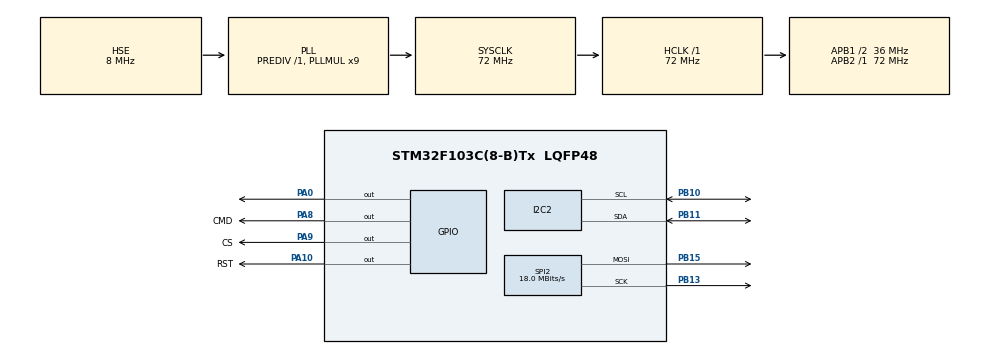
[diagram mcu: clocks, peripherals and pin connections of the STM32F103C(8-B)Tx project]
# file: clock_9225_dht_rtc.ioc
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Mcu.Family=STM32F1
Mcu.Name=STM32F103C(8-B)Tx
Mcu.Package=LQFP48
NVIC.PriorityGroup=NVIC_PRIORITYGROUP_4
PA0-WKUP.Signal=GPIO_Output
PA10.GPIO_Label=RST
PA10.Signal=GPIO_Output
PA13.Mode=Serial_Wire
PA13.Signal=SYS_JTMS-SWDIO
PA14.Mode=Serial_Wire
PA14.Signal=SYS_JTCK-SWCLK
PA8.GPIO_Label=CMD
PA8.Signal=GPIO_Output
PA9.GPIO_Label=CS
PA9.Signal=GPIO_Output
PB10.Mode=I2C
PB10.Signal=I2C2_SCL
PB11.Mode=I2C
PB11.Signal=I2C2_SDA
PB13.Mode=TX_Only_Simplex_Unidirect_Master
PB13.Signal=SPI2_SCK
PB15.Mode=TX_Only_Simplex_Unidirect_Master
PB15.Signal=SPI2_MOSI
PD0-OSC_IN.Mode=HSE-External-Oscillator
PD0-OSC_IN.Signal=RCC_OSC_IN
PD1-OSC_OUT.Mode=HSE-External-Oscillator
PD1-OSC_OUT.Signal=RCC_OSC_OUT
ProjectManager.HeapSize=0x200
ProjectManager.StackSize=0x400
ProjectManager.TargetToolchain=STM32CubeIDE
RCC.AHBFreq_Value=72000000
RCC.APB1CLKDivider=RCC_HCLK_DIV2
RCC.APB1Freq_Value=36000000
RCC.APB1TimFreq_Value=72000000
RCC.APB2Freq_Value=72000000
RCC.APB2TimFreq_Value=72000000
RCC.HCLKFreq_Value=72000000
RCC.PLLMUL=RCC_PLL_MUL9
RCC.PLLSourceVirtual=RCC_PLLSOURCE_HSE
RCC.SYSCLKFreq_VALUE=72000000
RCC.SYSCLKSource=RCC_SYSCLKSOURCE_PLLCLK
RCC.USBFreq_Value=72000000
SPI2.CalculateBaudRate=18.0 MBits/s
SPI2.Direction=SPI_DIRECTION_2LINES
SPI2.Mode=SPI_MODE_MASTER
SPI2.VirtualType=VM_MASTER
board=custom

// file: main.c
/* USER CODE BEGIN Header */
/**
  ******************************************************************************
  * @file           : main.c
  * @brief          : Main program body
  ******************************************************************************
  * @attention
  *
  * Copyright (c) 2023 STMicroelectronics.
  * All rights reserved.
  *
  * This software is licensed under terms that can be found in the LICENSE file
  * in the root directory of this software component.
  * If no LICENSE file comes with this software, it is provided AS-IS.
  *
  ******************************************************************************
  */
/* USER CODE END Header */
#include "main.h"

/* USER CODE BEGIN Includes */
#include "ILI9225.h"
#include "DHT.h"
#include "stdio.h"
#include "stdint.h"
#include <string.h>
#include "RTC.h"
/* USER CODE END Includes */

I2C_HandleTypeDef hi2c2;

SPI_HandleTypeDef hspi2;

DHT_DataTypedef DHT11_Data;
float Temperature, Humidity;
long last = 0;
int i = 0;
char temperature_string[100];
char humidity_string[100];

/* USER CODE BEGIN PV */
uint8_t second_present, min_present, hour_present, date_present, month_present, year_present;
uint8_t second_temp, min_temp, hour_temp, date_temp, month_temp, year_temp;

uint8_t str1[10];

uint8_t str2[10];
/* USER CODE END PV */

void SystemClock_Config(void);
static void MX_GPIO_Init(void);
static void MX_SPI2_Init(void);
static void MX_I2C2_Init(void);
void Read_DataDHT(void);

DateTime datetime;
int main(void)
{

  /* MCU Configuration--------------------------------------------------------*/

  /* Reset of all peripherals, Initializes the Flash interface and the Systick. */
  HAL_Init();

  /* Configure the system clock */
  SystemClock_Config();

  /* Initialize all configured peripherals */
  MX_GPIO_Init();
  MX_SPI2_Init();
  MX_I2C2_Init();
  /* USER CODE BEGIN 2 */
  lcd_init();
  draw_string(0, 50, COLOR_SILVER, 5, "HELLO");
  HAL_Delay(2500);
  fill_rectangle(0, 0, WIDTH, HEIGHT, COLOR_WHITE);
  Read_DataDHT();

  datetime.second = 0;
  datetime.min = 32;
  datetime.hour = 17;
  datetime.day = 8;
  datetime.date = 53;
  datetime.month = 12;
  datetime.year = 23;
  RTC_WriteTime(&datetime);

  draw_string(15, 50, COLOR_GOLD, 5, "QMDP");
  HAL_Delay(2500);
  /* USER CODE END 2 */

  /* Infinite loop */
  while (1)
  {

    /* USER CODE BEGIN 3 */

		 RTC_ReadTime(&datetime);
		  second_temp = datetime.second;
		  min_temp = datetime.min;
		  hour_temp = datetime.hour;
		  date_temp = datetime.date;
		  month_temp = datetime.month;
		  year_temp = datetime.year;
		  sprintf(str1,"Time %.2d:%.2d:%.2d",datetime.hour,datetime.min,datetime.second );

		  if(second_temp != second_present)
		  {
			  fill_rectangle(140, 100, 160, 110, COLOR_WHITE);
			  second_present = second_temp;
		  }
		  draw_string(40, 100, COLOR_BLACK, 1, str1);

		  if(min_temp != min_present)
		  	  {
		  		  fill_rectangle(110, 100, 130, 110, COLOR_WHITE);
		  		  min_present = min_temp;
		  	  }
		  draw_string(40, 100, COLOR_BLACK, 1, str1);

		  if(hour_temp != hour_present)
		 	  	  {
		 	  		  fill_rectangle(85, 100, 105, 110, COLOR_WHITE);
		 	  		  hour_present = hour_temp;
		 	  	  }
		  draw_string(40, 100, COLOR_BLACK, 1, str1);

		  sprintf(str2,"Date %.2d/%.2d/%.2d",datetime.date,datetime.month,datetime.year );
	// để sprintf ở đây cho nó chính xác, date, month, year lâu lắm
		  //để sprintf ở đây để convert, lệnh in lên LCD nằm trong thư viện của LCD
		  if(date_temp != date_present)
		  	 	  	  {
		  	 	  		  fill_rectangle(85, 115, 105, 135, COLOR_WHITE);
		  	 	  		  date_present = date_temp;
		  	 	  	  }
		  	  draw_string(40, 120, COLOR_BLACK, 1, str2);

		  	if(month_temp != month_present)
		  		 	  	  {
		  		 	  		  fill_rectangle(110, 115, 130, 135, COLOR_WHITE);
		  		 	  		  month_present = month_temp;
		  		 	  	  }
		  		  draw_string(40, 120, COLOR_BLACK, 1, str2);

		  		if(year_temp != year_present)
		  			 	  	  {
		  			 	  		  fill_rectangle(135, 115, 160, 135, COLOR_WHITE);
		  			 	  		  year_present = year_temp;
		  			 	  	  }
		  			  draw_string(40, 120, COLOR_BLACK, 1, str2);

          Read_DataDHT();
	      snprintf(temperature_string, 7, "%.2f", Temperature);
	      snprintf(humidity_string, 7, "%.2f", Humidity);
	      fill_rectangle(0, 0, 220, 176, COLOR_WHITE);
	      draw_string(20, 20, COLOR_BLUE, 4, temperature_string);
		  draw_string(20, 90, COLOR_BLUE, 4, humidity_string);
		  HAL_Delay(100);
  }
  /* USER CODE END 3 */
}

void Read_DataDHT(void)
{
	DHT_GetData(&DHT11_Data);
	Temperature = DHT11_Data.Temperature;
	Humidity = DHT11_Data.Humidity;
//	char number_string[10];

//	dtostrf(Temperature, 5, 2, str);
//	dtostrf(Humidity, 5, 2, str);
//	dtostrf(Temperature, str, 5, 2);
//    dtostrf(Humidity, str, 5, 2);
//    itoa(Temperature, str, 5);
//    snprintf(temperature_string, 7, "%.2f", Temperature);
//    snprintf(humidity_string, 7, "%.2f", Humidity);
    //	str, "%d.Temperature: %0.2f - Humidity: %0.2f\r\n", Temperature,Humidity;

//	last = HAL_GetTick();
//	while(1)
//	{
//		if(HAL_GetTick() - last >= 1000)
//		{
////			uint8_t count = 0;
////			i++;
////	 		count = sprintf((char *)str,"%d.Temperature: %0.2f - Humidity: %0.2f\r\n",i, Temperature,Humidity);
////			HAL_UART_Transmit(&huart2,str, count, 300);
//			last = HAL_GetTick();
//			break;
//		}
//	}
}

void SystemClock_Config(void)
{
  RCC_OscInitTypeDef RCC_OscInitStruct = {0};
  RCC_ClkInitTypeDef RCC_ClkInitStruct = {0};

  /** Initializes the RCC Oscillators according to the specified parameters
  * in the RCC_OscInitTypeDef structure.
  */
  RCC_OscInitStruct.OscillatorType = RCC_OSCILLATORTYPE_HSE;
  RCC_OscInitStruct.HSEState = RCC_HSE_ON;
  RCC_OscInitStruct.HSEPredivValue = RCC_HSE_PREDIV_DIV1;
  RCC_OscInitStruct.HSIState = RCC_HSI_ON;
  RCC_OscInitStruct.PLL.PLLState = RCC_PLL_ON;
  RCC_OscInitStruct.PLL.PLLSource = RCC_PLLSOURCE_HSE;
  RCC_OscInitStruct.PLL.PLLMUL = RCC_PLL_MUL9;
  if (HAL_RCC_OscConfig(&RCC_OscInitStruct) != HAL_OK)
  {
    Error_Handler();
  }

  /** Initializes the CPU, AHB and APB buses clocks
  */
  RCC_ClkInitStruct.ClockType = RCC_CLOCKTYPE_HCLK|RCC_CLOCKTYPE_SYSCLK
                              |RCC_CLOCKTYPE_PCLK1|RCC_CLOCKTYPE_PCLK2;
  RCC_ClkInitStruct.SYSCLKSource = RCC_SYSCLKSOURCE_PLLCLK;
  RCC_ClkInitStruct.AHBCLKDivider = RCC_SYSCLK_DIV1;
  RCC_ClkInitStruct.APB1CLKDivider = RCC_HCLK_DIV2;
  RCC_ClkInitStruct.APB2CLKDivider = RCC_HCLK_DIV1;

  if (HAL_RCC_ClockConfig(&RCC_ClkInitStruct, FLASH_LATENCY_2) != HAL_OK)
  {
    Error_Handler();
  }
}

static void MX_I2C2_Init(void)
{

  hi2c2.Instance = I2C2;
  hi2c2.Init.ClockSpeed = 100000;
  hi2c2.Init.DutyCycle = I2C_DUTYCYCLE_2;
  hi2c2.Init.OwnAddress1 = 0;
  hi2c2.Init.AddressingMode = I2C_ADDRESSINGMODE_7BIT;
  hi2c2.Init.DualAddressMode = I2C_DUALADDRESS_DISABLE;
  hi2c2.Init.OwnAddress2 = 0;
  hi2c2.Init.GeneralCallMode = I2C_GENERALCALL_DISABLE;
  hi2c2.Init.NoStretchMode = I2C_NOSTRETCH_DISABLE;
  if (HAL_I2C_Init(&hi2c2) != HAL_OK)
  {
    Error_Handler();
  }

}

static void MX_SPI2_Init(void)
{

  /* SPI2 parameter configuration*/
  hspi2.Instance = SPI2;
  hspi2.Init.Mode = SPI_MODE_MASTER;
  hspi2.Init.Direction = SPI_DIRECTION_2LINES;
  hspi2.Init.DataSize = SPI_DATASIZE_8BIT;
  hspi2.Init.CLKPolarity = SPI_POLARITY_LOW;
  hspi2.Init.CLKPhase = SPI_PHASE_1EDGE;
  hspi2.Init.NSS = SPI_NSS_SOFT;
  hspi2.Init.BaudRatePrescaler = SPI_BAUDRATEPRESCALER_2;
  hspi2.Init.FirstBit = SPI_FIRSTBIT_MSB;
  hspi2.Init.TIMode = SPI_TIMODE_DISABLE;
  hspi2.Init.CRCCalculation = SPI_CRCCALCULATION_DISABLE;
  hspi2.Init.CRCPolynomial = 10;
  if (HAL_SPI_Init(&hspi2) != HAL_OK)
  {
    Error_Handler();
  }

}

static void MX_GPIO_Init(void)
{
  GPIO_InitTypeDef GPIO_InitStruct = {0};

  /* GPIO Ports Clock Enable */
  __HAL_RCC_GPIOD_CLK_ENABLE();
  __HAL_RCC_GPIOA_CLK_ENABLE();
  __HAL_RCC_GPIOB_CLK_ENABLE();

  /*Configure GPIO pin Output Level */
  HAL_GPIO_WritePin(GPIOA, GPIO_PIN_0|CMD_Pin|CS_Pin|RST_Pin, GPIO_PIN_RESET);

  /*Configure GPIO pins : PA0 CMD_Pin CS_Pin RST_Pin */
  GPIO_InitStruct.Pin = GPIO_PIN_0|CMD_Pin|CS_Pin|RST_Pin;
  GPIO_InitStruct.Mode = GPIO_MODE_OUTPUT_PP;
  GPIO_InitStruct.Pull = GPIO_NOPULL;
  GPIO_InitStruct.Speed = GPIO_SPEED_FREQ_LOW;
  HAL_GPIO_Init(GPIOA, &GPIO_InitStruct);

}

void Error_Handler(void)
{
  __disable_irq();
  while (1)
  {
  }
}
